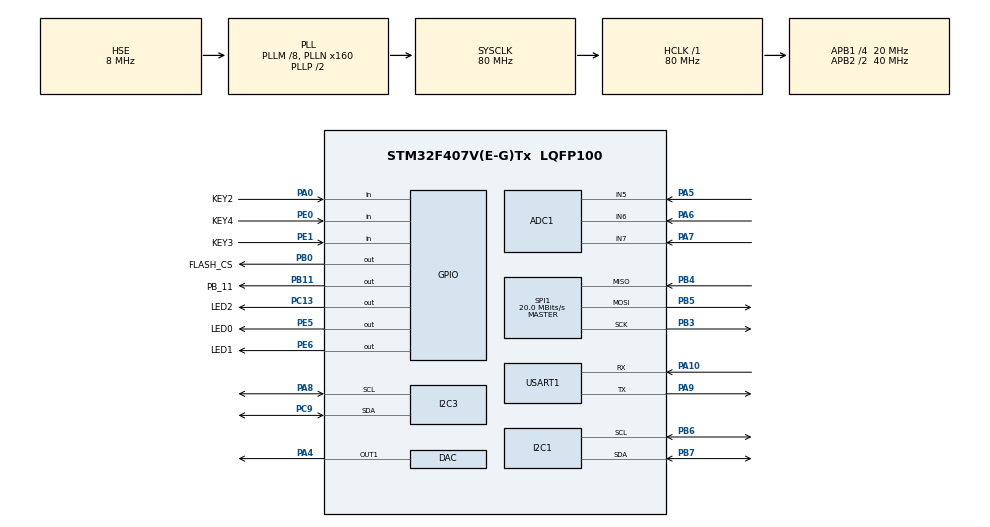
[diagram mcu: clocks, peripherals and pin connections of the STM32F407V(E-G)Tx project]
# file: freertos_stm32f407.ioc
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ADC1.Channel-0\#ChannelRegularConversion=ADC_CHANNEL_5
ADC1.InjNumberOfConversion=0
ADC1.NbrOfConversion=1
ADC1.NbrOfConversionFlag=1
ADC1.Rank-0\#ChannelRegularConversion=1
ADC1.SamplingTime-0\#ChannelRegularConversion=ADC_SAMPLETIME_3CYCLES
ADC1.master=1
FREERTOS.Tasks01=defaultTask,24,128,StartDefaultTask,Default,NULL,Dynamic,NULL,NULL
I2C1.I2C_Mode=I2C_Fast
I2C3.I2C_Mode=I2C_Fast
Mcu.Family=STM32F4
Mcu.Name=STM32F407V(E-G)Tx
Mcu.Package=LQFP100
NVIC.PriorityGroup=NVIC_PRIORITYGROUP_4
NVIC.TIM1_UP_TIM10_IRQn=true\:15\:0\:false\:false\:true\:false\:false\:true\:true
NVIC.TimeBase=TIM1_UP_TIM10_IRQn
NVIC.TimeBaseIP=TIM10
NVIC.USART1_IRQn=true\:5\:0\:false\:false\:true\:true\:true\:true\:true
PA0-WKUP.GPIO_Label=KEY2
PA0-WKUP.GPIO_PuPd=GPIO_PULLDOWN
PA0-WKUP.Signal=GPIO_Input
PA10.Mode=Asynchronous
PA10.Signal=USART1_RX
PA13.Mode=Serial_Wire
PA13.Signal=SYS_JTMS-SWDIO
PA14.Mode=Serial_Wire
PA14.Signal=SYS_JTCK-SWCLK
PA4.Signal=COMP_DAC1_group
PA5.Signal=ADCx_IN5
PA6.Signal=ADCx_IN6
PA7.Signal=ADCx_IN7
PA8.Mode=I2C
PA8.Signal=I2C3_SCL
PA9.Mode=Asynchronous
PA9.Signal=USART1_TX
PB0.GPIO_Label=FLASH_CS
PB0.Signal=GPIO_Output
PB11.GPIO_Label=PB_11
PB11.Signal=GPIO_Output
PB3.Mode=Full_Duplex_Master
PB3.Signal=SPI1_SCK
PB4.Mode=Full_Duplex_Master
PB4.Signal=SPI1_MISO
PB5.Mode=Full_Duplex_Master
PB5.Signal=SPI1_MOSI
PB6.Mode=I2C
PB6.Signal=I2C1_SCL
PB7.Mode=I2C
PB7.Signal=I2C1_SDA
PC13-ANTI_TAMP.GPIO_Label=LED2
PC13-ANTI_TAMP.Signal=GPIO_Output
PC14-OSC32_IN.Mode=LSE-External-Oscillator
PC14-OSC32_IN.Signal=RCC_OSC32_IN
PC15-OSC32_OUT.Mode=LSE-External-Oscillator
PC15-OSC32_OUT.Signal=RCC_OSC32_OUT
PC9.Mode=I2C
PC9.Signal=I2C3_SDA
PE0.GPIO_Label=KEY4
PE0.GPIO_PuPd=GPIO_PULLUP
PE0.Signal=GPIO_Input
PE1.GPIO_Label=KEY3
PE1.GPIO_PuPd=GPIO_PULLUP
PE1.Signal=GPIO_Input
PE5.GPIO_Label=LED0
PE5.Signal=GPIO_Output
PE6.GPIO_Label=LED1
PE6.Signal=GPIO_Output
PH0-OSC_IN.Mode=HSE-External-Oscillator
PH0-OSC_IN.Signal=RCC_OSC_IN
PH1-OSC_OUT.Mode=HSE-External-Oscillator
PH1-OSC_OUT.Signal=RCC_OSC_OUT
ProjectManager.HeapSize=0x200
ProjectManager.StackSize=0x400
ProjectManager.TargetToolchain=MDK-ARM V5.32
RCC.48MHZClocksFreq_Value=40000000
RCC.AHBFreq_Value=80000000
RCC.APB1CLKDivider=RCC_HCLK_DIV4
RCC.APB1Freq_Value=20000000
RCC.APB1TimFreq_Value=40000000
RCC.APB2CLKDivider=RCC_HCLK_DIV2
RCC.APB2Freq_Value=40000000
RCC.APB2TimFreq_Value=80000000
RCC.CortexFreq_Value=80000000
RCC.HCLKFreq_Value=80000000
RCC.HSE_VALUE=8000000
RCC.HSI_VALUE=16000000
RCC.PLLM=8
RCC.PLLN=160
RCC.PLLSourceVirtual=RCC_PLLSOURCE_HSE
RCC.RCC_RTC_Clock_Source=RCC_RTCCLKSOURCE_LSE
RCC.RCC_RTC_Clock_SourceVirtual=RCC_RTCCLKSOURCE_LSE
RCC.SYSCLKFreq_VALUE=80000000
RCC.SYSCLKSource=RCC_SYSCLKSOURCE_PLLCLK
RCC.VCOOutputFreq_Value=160000000
RTC.Date=12
RTC.Format=RTC_FORMAT_BIN
RTC.Hours=11
RTC.Minutes=55
RTC.Month=RTC_MONTH_JUNE
RTC.Seconds=10
RTC.WeekDay=RTC_WEEKDAY_WEDNESDAY
RTC.Year=24
SH.ADCx_IN5.0=ADC1_IN5,IN5
SH.ADCx_IN6.0=ADC1_IN6,IN6
SH.ADCx_IN7.0=ADC1_IN7,IN7
SH.COMP_DAC1_group.0=DAC_OUT1,DAC_OUT1
SPI1.CalculateBaudRate=20.0 MBits/s
SPI1.Direction=SPI_DIRECTION_2LINES
SPI1.Mode=SPI_MODE_MASTER
SPI1.VirtualType=VM_MASTER
USART1.VirtualMode=VM_ASYNC
VP_FREERTOS_VS_CMSIS_V2.Mode=CMSIS_V2
VP_RTC_VS_RTC_Activate.Mode=RTC_Enabled
VP_RTC_VS_RTC_Calendar.Mode=RTC_Calendar
VP_SYS_VS_tim10.Mode=TIM10
board=custom

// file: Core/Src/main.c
/* USER CODE BEGIN Header */
/**
 ******************************************************************************
 * @file           : main.c
 * @brief          : Main program body
 ******************************************************************************
 * @attention
 *
 * Copyright (c) 2022 STMicroelectronics.
 * All rights reserved.
 *
 * This software is licensed under terms that can be found in the LICENSE file
 * in the root directory of this software component.
 * If no LICENSE file comes with this software, it is provided AS-IS.
 *
 ******************************************************************************
 */
/* USER CODE END Header */
#include "main.h"
#include "cmsis_os.h"
#include "adc.h"
#include "dac.h"
#include "i2c.h"
#include "rtc.h"
#include "spi.h"
#include "usart.h"
#include "gpio.h"

void SystemClock_Config(void);
void MX_FREERTOS_Init(void);

int main(void)
{

  /* MCU Configuration--------------------------------------------------------*/

  /* Reset of all peripherals, Initializes the Flash interface and the Systick. */
  HAL_Init();

  /* Configure the system clock */
  SystemClock_Config();

  /* Initialize all configured peripherals */
  MX_GPIO_Init();
  MX_USART1_UART_Init();
  MX_SPI1_Init();
  MX_DAC_Init();
  MX_I2C1_Init();
  MX_ADC1_Init();
  MX_RTC_Init();
  MX_I2C3_Init();
  /* USER CODE BEGIN 2 */
  // OLED_Init();
  /* USER CODE END 2 */

  /* Init scheduler */
  osKernelInitialize();  /* Call init function for freertos objects (in freertos.c) */
  MX_FREERTOS_Init();

  /* Start scheduler */
  osKernelStart();

  /* We should never get here as control is now taken by the scheduler */
  /* Infinite loop */
    while (1)
    {

    }
}

void SystemClock_Config(void)
{
  RCC_OscInitTypeDef RCC_OscInitStruct = {0};
  RCC_ClkInitTypeDef RCC_ClkInitStruct = {0};

  /** Configure the main internal regulator output voltage
  */
  __HAL_RCC_PWR_CLK_ENABLE();
  __HAL_PWR_VOLTAGESCALING_CONFIG(PWR_REGULATOR_VOLTAGE_SCALE1);

  /** Initializes the RCC Oscillators according to the specified parameters
  * in the RCC_OscInitTypeDef structure.
  */
  RCC_OscInitStruct.OscillatorType = RCC_OSCILLATORTYPE_HSE|RCC_OSCILLATORTYPE_LSE;
  RCC_OscInitStruct.HSEState = RCC_HSE_ON;
  RCC_OscInitStruct.LSEState = RCC_LSE_ON;
  RCC_OscInitStruct.PLL.PLLState = RCC_PLL_ON;
  RCC_OscInitStruct.PLL.PLLSource = RCC_PLLSOURCE_HSE;
  RCC_OscInitStruct.PLL.PLLM = 8;
  RCC_OscInitStruct.PLL.PLLN = 160;
  RCC_OscInitStruct.PLL.PLLP = RCC_PLLP_DIV2;
  RCC_OscInitStruct.PLL.PLLQ = 4;
  if (HAL_RCC_OscConfig(&RCC_OscInitStruct) != HAL_OK)
  {
    Error_Handler();
  }

  /** Initializes the CPU, AHB and APB buses clocks
  */
  RCC_ClkInitStruct.ClockType = RCC_CLOCKTYPE_HCLK|RCC_CLOCKTYPE_SYSCLK
                              |RCC_CLOCKTYPE_PCLK1|RCC_CLOCKTYPE_PCLK2;
  RCC_ClkInitStruct.SYSCLKSource = RCC_SYSCLKSOURCE_PLLCLK;
  RCC_ClkInitStruct.AHBCLKDivider = RCC_SYSCLK_DIV1;
  RCC_ClkInitStruct.APB1CLKDivider = RCC_HCLK_DIV4;
  RCC_ClkInitStruct.APB2CLKDivider = RCC_HCLK_DIV2;

  if (HAL_RCC_ClockConfig(&RCC_ClkInitStruct, FLASH_LATENCY_2) != HAL_OK)
  {
    Error_Handler();
  }
}

void HAL_TIM_PeriodElapsedCallback(TIM_HandleTypeDef *htim)
{
  if (htim->Instance == TIM10) {
    HAL_IncTick();
    TimerInterruptProc();
  }
}

void Error_Handler(void)
{
  /* USER CODE BEGIN Error_Handler_Debug */
    /* User can add his own implementation to report the HAL error return state */
    __disable_irq();
    printf("fail %s, %s", __FILE__, __LINE__);
    while (1)
    {
    }
  /* USER CODE END Error_Handler_Debug */
}

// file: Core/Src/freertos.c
/* USER CODE BEGIN Header */
/**
  ******************************************************************************
  * File Name          : freertos.c
  * Description        : Code for freertos applications
  ******************************************************************************
  * @attention
  *
  * Copyright (c) 2022 STMicroelectronics.
  * All rights reserved.
  *
  * This software is licensed under terms that can be found in the LICENSE file
  * in the root directory of this software component.
  * If no LICENSE file comes with this software, it is provided AS-IS.
  *
  ******************************************************************************
  */
/* USER CODE END Header */

#include "FreeRTOS.h"
#include "task.h"
#include "main.h"
#include "cmsis_os.h"

/* USER CODE BEGIN Includes */
#include "log.h"
#include "shell.h"
#include "shell_port.h"
#include "key.h"
#include "drv_gpio.h"
#include "flash.h"
#include "thread.h"
#include "rtc.h"
#include "ssz_time.h"

/* USER CODE END Includes */

/* USER CODE BEGIN PD */
#undef LOG_ENABLE
#ifndef     LOG_ENABLE
    #define LOG_ENABLE         1                /**< 使能log */
#endif

/* USER CODE END PD */

/* USER CODE BEGIN Variables */
osTimerId_t timer_id;
uint32_t g_click_interval_s = 10;

osTimerId_t g_check_destination_timer_id;
date_time g_expect_datetime;

/* USER CODE END Variables */
/* Definitions for defaultTask */
osThreadId_t defaultTaskHandle;
const osThreadAttr_t defaultTask_attributes = {
  .name = "defaultTask",
  .stack_size = 128 * 4,
  .priority = (osPriority_t) osPriorityNormal,
};

/* USER CODE BEGIN FunctionPrototypes */
void timer_callback(void *parameter);
void check_timer_callback(void *parameter);
void key2_pressed(KeyID key, int repeat_count);
void key3_pressed(KeyID key, int repeat_count);
void key4_released(KeyID key, int repeat_count);
int flash_db_init(void);

/* USER CODE END FunctionPrototypes */

void StartDefaultTask(void *argument);

void MX_FREERTOS_Init(void); /* (MISRA C 2004 rule 8.1) */

void MX_FREERTOS_Init(void) {
  /* USER CODE BEGIN Init */
  // oled_init();
  OLED_Init();
  key_init();
  sfud_init();
  // flash_db_init();
  userShellInit();
  drv_gpio_set_pin_high(LED2_GPIO_Port, LED2_Pin);
  drv_gpio_set_pin_high(LED1_GPIO_Port, LED1_Pin);
  drv_gpio_set_pin_high(LED0_GPIO_Port, LED0_Pin);
  key_set_handler(kKey2, kKeyEventPressed, key2_pressed);
  key_set_handler(kKey3, kKeyEventPressed, key3_pressed);
  key_set_handler(kKey4, kKeyEventReleased, key4_released);

  // OLED_ShowString(10, 10, "Hello world!", 8);

  extern unsigned char GB2312_H12[];
  for (int i = 0 ; i < 8; i++) {
    // OLED_ShowImage(6*i, 0, 6,12, &GB2312_H12[i*12]);
    OLED_ShowImage(6*i, 0, 6,12, &GB2312_H12[i*12]);

  }
  // OLED_ShowImage(10, 10, 6,12, &GB2312_H12[0]);
  // OLED_ShowImage(10, 10, 6,12, &GB2312_H12[0]);
  // OLED_ShowImage(10, 10, 6,12, &GB2312_H12[0]);
  // OLED_ShowImage(10, 10, 6,12, &GB2312_H12[0]);
  // OLED_ShowImage(10, 10, 6,12, &GB2312_H12[0]);
  // OLED_ShowImage(10, 10, 6,12, &GB2312_H12[0]);
  // OLED_ShowImage(10, 10, 6,12, &GB2312_H12[0]);
  OLED_Update();

  /* USER CODE END Init */

  /* USER CODE BEGIN RTOS_TIMERS */
  osTimerId_t key_scan_timer_id = osTimerNew(key_start_scan, osTimerPeriodic, NULL, NULL);
  osTimerStart(key_scan_timer_id, KEY_SCAN_TIME_MS);

  g_check_destination_timer_id = osTimerNew(check_timer_callback, osTimerPeriodic, NULL, NULL);
  osTimerStart(g_check_destination_timer_id, 1000);

  /* USER CODE END RTOS_TIMERS */

  /* Create the thread(s) */
  /* creation of defaultTask */
  defaultTaskHandle = osThreadNew(StartDefaultTask, NULL, &defaultTask_attributes);

  /* USER CODE BEGIN RTOS_THREADS */
  /* add threads, ... */
  start_thread();
  start_sem_thread();
  start_event_thread();
  // flex_button_main();
  demo_ui_thread();

  /* USER CODE END RTOS_THREADS */

}

void StartDefaultTask(void *argument)
{
  /* USER CODE BEGIN StartDefaultTask */
  timer_id = osTimerNew(timer_callback, osTimerOnce, NULL, NULL);
  /* Infinite loop */
  for(;;)
  {
    osDelay(g_click_interval_s * 1000ul);
    // drv_gpio_set_pin_low(LED0_GPIO_Port, LED0_Pin);
    drv_gpio_set_pin_high(PB_11_GPIO_Port, PB_11_Pin);
    osTimerStart(timer_id, 50);
  }
  /* USER CODE END StartDefaultTask */
}

/* USER CODE BEGIN Application */
void timer_callback(void *argument)
{
    // drv_gpio_set_pin_high(LED0_GPIO_Port, LED0_Pin);
    drv_gpio_set_pin_low(PB_11_GPIO_Port, PB_11_Pin);
}

void key2_pressed(KeyID key, int repeat_count)
{
    drv_gpio_toggle_pin(LED1_GPIO_Port, LED1_Pin);
    osThreadFlagsSet(thread_handle, KEY2_FLAG);
    osEventFlagsSet(event_thread_handle, KEY2_FLAG);
    osSemaphoreRelease(sem);
}

void key3_pressed(KeyID key, int repeat_count)
{
    drv_gpio_toggle_pin(LED2_GPIO_Port, LED2_Pin);
    osThreadFlagsSet(thread_handle, KEY3_FLAG);
    osEventFlagsSet(event_thread_handle, KEY3_FLAG);
    osSemaphoreRelease(sem);
}

void key4_released(KeyID key, int repeat_count)
{
    drv_gpio_toggle_pin(LED2_GPIO_Port, LED2_Pin);
    osThreadFlagsSet(thread_handle, KEY4_FLAG);
    osEventFlagsSet(event_thread_handle, KEY4_FLAG);
}

void time(void)
{
  if (HAL_RTC_GetTime(&hrtc, &ctime, RTC_FORMAT_BIN) == HAL_OK) {
    logDebug("time: %02d:%02d:%02d", ctime.Hours, ctime.Minutes, ctime.Seconds);
  }

  if (HAL_RTC_GetDate(&hrtc, &date_buff, RTC_FORMAT_BIN) == HAL_OK) {
    logDebug("date: %02d/%02d/%02d/%02d", 2000 + date_buff.Year, date_buff.Month, date_buff.Date,date_buff.WeekDay);
  }
}

void time_check(void)
{
  if (HAL_RTC_GetTime(&hrtc, &ctime, RTC_FORMAT_BIN) == HAL_OK) {
    // logDebug("time: %02d:%02d:%02d", ctime.Hours, ctime.Minutes, ctime.Seconds);
  }

  if (HAL_RTC_GetDate(&hrtc, &date_buff, RTC_FORMAT_BIN) == HAL_OK) {
    // logDebug("date: %02d/%02d/%02d/%02d", 2000 + date_buff.Year, date_buff.Month, date_buff.Date,date_buff.WeekDay);
  }
}

void print_tick(void)
{
  // logDebug("tick = %d", HAL_GetTick());
  logDebug("tick = %dms, %d:%d:%d:%d", HAL_GetTick(), HAL_GetTick() / 1000 / 3600,
    HAL_GetTick() / 1000 % 3600 / 60, HAL_GetTick() / 1000 % 60, HAL_GetTick() % 1000);
  time();
}

void set_time(uint8_t hour, uint8_t minute, uint8_t second)
{
  RTC_TimeTypeDef sTime = {0};

  sTime.Hours = hour;
  sTime.Minutes = minute;
  sTime.Seconds = second;
  sTime.DayLightSaving = RTC_DAYLIGHTSAVING_NONE;
  sTime.StoreOperation = RTC_STOREOPERATION_RESET;

  if (HAL_RTC_SetTime(&hrtc, &sTime, RTC_FORMAT_BIN) != HAL_OK)
  {
    Error_Handler();
  }

  logDebug("set time done!");
}

void set_date(uint8_t year, uint8_t month, uint8_t date, uint8_t week_day)
{
  RTC_DateTypeDef sDate = {0};

  sDate.WeekDay = week_day;
  sDate.Month = month;
  sDate.Date = date;
  sDate.Year = year;

  if (HAL_RTC_SetDate(&hrtc, &sDate, RTC_FORMAT_BIN) != HAL_OK)
  {
    Error_Handler();
  }

  logDebug("set date done!");
}

void set_datetime(uint8_t year, uint8_t month, uint8_t date, uint8_t week_day, uint8_t hour, uint8_t minute, uint8_t second)
{
  set_time(hour, minute, second);
  set_date(year, month, date, week_day);
  logDebug("datetime set done!");
}

void write_rtc_backup_year(uint8_t year)
{
  HAL_RTCEx_BKUPWrite(&hrtc, RTC_BKP_DR2, year);
}

void kernel_ver(void)
{
    char kernel_id[40];

    osKernelGetInfo(NULL, kernel_id, 40);
    logDebug("kernel_ver = %s", kernel_id);
}

void click_interval_set(uint32_t second)
{
  g_click_interval_s = second;
  logDebug("set g_click_interval_s=%lu", g_click_interval_s);
}

void click_interval_read(void)
{
  logDebug("g_click_interval_s=%lu", g_click_interval_s);
}

void check_timer_callback(void *parameter)
{
  time_check();

  if (date_buff.Month == g_expect_datetime.month
      && date_buff.Date == g_expect_datetime.day
      && ctime.Hours == g_expect_datetime.hour
      && ctime.Minutes == g_expect_datetime.minute) {
        osThreadSuspend(defaultTaskHandle);
        osTimerStop(timer_id);
        osTimerStop(g_check_destination_timer_id);
        drv_gpio_set_pin_low(PB_11_GPIO_Port, PB_11_Pin);

        logDebug("stop screen click");
  }
}

void set_destination_datetime(uint8_t month, uint8_t day, uint8_t hour, uint8_t minute)
{
  g_expect_datetime.month = month;
  g_expect_datetime.day = day;
  g_expect_datetime.hour = hour;
  g_expect_datetime.minute = minute;

  logDebug("set g_expect_datetime.month  = %u,  g_expect_datetime.day = %u,  g_expect_datetime.hour  = %u,  g_expect_datetime.minute = %u",
      g_expect_datetime.month,  g_expect_datetime.day,  g_expect_datetime.hour,  g_expect_datetime.minute);
}

void get_destination_datetime(uint8_t month, uint8_t day, uint8_t hour, uint8_t minute)
{

  logDebug("g_expect_datetime.month  = %u,  g_expect_datetime.day = %u,  g_expect_datetime.hour  = %u,  g_expect_datetime.minute = %u",
      g_expect_datetime.month,  g_expect_datetime.day,  g_expect_datetime.hour,  g_expect_datetime.minute);
}

SHELL_EXPORT_CMD(SHELL_CMD_PERMISSION(0)|SHELL_CMD_TYPE(SHELL_TYPE_CMD_FUNC), tick, print_tick, print current tick);
SHELL_EXPORT_CMD(SHELL_CMD_PERMISSION(0)|SHELL_CMD_TYPE(SHELL_TYPE_CMD_FUNC), time, time, datetime);
SHELL_EXPORT_CMD(SHELL_CMD_PERMISSION(0)|SHELL_CMD_TYPE(SHELL_TYPE_CMD_FUNC), set_time, set_time, set time [h] [m] [s]);
SHELL_EXPORT_CMD(SHELL_CMD_PERMISSION(0)|SHELL_CMD_TYPE(SHELL_TYPE_CMD_FUNC), set_date, set_date, set date [y] [m] [d] [w]);
SHELL_EXPORT_CMD(SHELL_CMD_PERMISSION(0)|SHELL_CMD_TYPE(SHELL_TYPE_CMD_FUNC), set_datetime, set_datetime, set date [y] [m] [d] [w] [h] [m] [s]);
SHELL_EXPORT_CMD(SHELL_CMD_PERMISSION(0)|SHELL_CMD_TYPE(SHELL_TYPE_CMD_FUNC), write_rtc_backup_year, write_rtc_backup_year, write_rtc_backup_year);
SHELL_EXPORT_CMD(SHELL_CMD_PERMISSION(0)|SHELL_CMD_TYPE(SHELL_TYPE_CMD_FUNC), click_interval_set, click_interval_set, click_interval_set);
SHELL_EXPORT_CMD(SHELL_CMD_PERMISSION(0)|SHELL_CMD_TYPE(SHELL_TYPE_CMD_FUNC), click_interval_read, click_interval_read, click_interval_read);
SHELL_EXPORT_CMD(SHELL_CMD_PERMISSION(0)|SHELL_CMD_TYPE(SHELL_TYPE_CMD_FUNC), kernel_ver, kernel_ver, kernel_ver);

SHELL_EXPORT_CMD(SHELL_CMD_PERMISSION(0)|SHELL_CMD_TYPE(SHELL_TYPE_CMD_FUNC), set_destination_datetime, set_destination_datetime, set_destination_datetime );
SHELL_EXPORT_CMD(SHELL_CMD_PERMISSION(0)|SHELL_CMD_TYPE(SHELL_TYPE_CMD_FUNC), get_destination_datetime, get_destination_datetime, get_destination_datetime);

/* USER CODE END Application */
